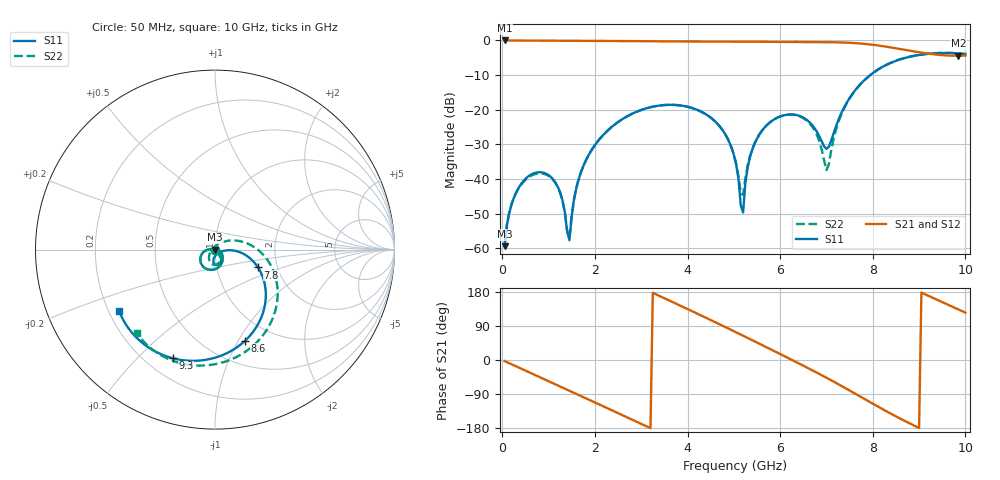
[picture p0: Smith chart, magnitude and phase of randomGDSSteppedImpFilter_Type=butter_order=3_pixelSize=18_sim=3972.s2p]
! freq	dB(S11)	phase(S11)	dB(S12)	phase(S12)
!  dB(S21)	phase(S21)	dB(S22)	phase(S22)
!S-par simulation data
#  GHz  S  DB  R 50
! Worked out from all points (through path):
!   200 points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, 50 MHz to 10 GHz, reference 50 ohm
!   highest |S21| = -0.01 dB at 50 MHz (marker M1); lowest = -4.4 dB at 9.85 GHz (marker M2)
!   group delay of S21, straight-line fit = 167 ps
!   lowest |S11| = -59.4 dB at 50 MHz (marker M3), VSWR 1.00, Z = 50 - j0.107 ohm
!   |S11| at or under -10 dB: start of sweep to 7.945 GHz
!   |S22| runs from -59.0 to -3.6 dB; largest |S21 - S12| = 0
!   S11 on the Smith chart (normalised r, x): 50 MHz: 1.00, -0.00; 7.8 GHz: 1.59, -0.34; 8.6 GHz: 0.75, -1.07; 9.3 GHz: 0.31, -0.64; 10 GHz: 0.24, -0.28
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0.05  -59.39 -87.2  -0.01 -2.9  -0.01 -2.9  -59.01 -87.6
0.3  -43.88 -102.9  -0.03 -16.8  -0.03 -16.8  -43.93 -102.9
0.8  -38.03 -134.8  -0.05 -44.8  -0.05 -44.8  -38.35 -132.1
1.2  -42.30 -163.6  -0.08 -67.1  -0.08 -67.1  -42.41 -161.5
1.45  -57.70 71.3  -0.09 -81.1  -0.09 -81.1  -56.98 74.0
1.75  -36.28 -3.3  -0.11 -97.9  -0.11 -97.9  -36.23 -1.4
2.65  -22.25 -57.7  -0.20 -148.7  -0.20 -148.7  -22.27 -57.0
3.4  -18.78 -100.3  -0.29 168.7  -0.29 168.7  -18.78 -99.7
4.5  -22.28 -162.0  -0.33 105.5  -0.33 105.5  -22.28 -161.0
5.05  -35.83 171.7  -0.34 73.1  -0.34 73.1  -35.58 -179.0
5.2  -49.65 -67.8  -0.34 64.1  -0.34 64.1  -44.57 -89.1
5.35  -33.60 -37.1  -0.35 55.1  -0.35 55.1  -33.32 -48.2
5.65  -25.36 -51.2  -0.38 37.1  -0.38 37.1  -25.32 -58.1
6.7  -24.56 -98.8  -0.47 -27.5  -0.47 -27.5  -25.03 -126.9
7  -31.30 -55.9  -0.50 -46.8  -0.50 -46.8  -37.43 146.5
7.3  -21.61 -2.3  -0.57 -66.8  -0.57 -66.8  -22.05 37.0
7.8  -11.71 -22.6  -0.96 -101.3  -0.96 -101.3  -11.73 -4.0
8.35  -6.70 -56.7  -1.93 -139.0  -1.93 -139.0  -6.67 -42.4
8.6  -5.43 -71.9  -2.51 -155.1  -2.51 -155.1  -5.40 -58.4
9.3  -3.75 -111.2  -3.98 163.8  -3.98 163.8  -3.71 -98.0
9.85  -3.76 -139.8  -4.43 133.5  -4.43 133.5  -3.71 -125.7
10  -3.96 -147.4  -4.38 124.9  -4.38 124.9  -3.92 -133.0
